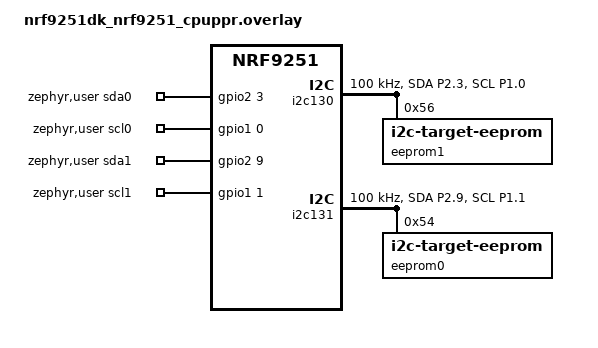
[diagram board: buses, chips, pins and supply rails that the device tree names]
/*
 * Copyright (c) 2026 Nordic Semiconductor ASA
 *
 * SPDX-License-Identifier: LicenseRef-Nordic-5-Clause
 */

/*
 * SDA = P2.03 - P2.09
 * SCL = P1.00 - P1.01
 */

/ {
	zephyr,user {
		sda0-gpios = <&gpio2 3 0>;
		scl0-gpios = <&gpio1 0 0>;
		sda1-gpios = <&gpio2 9 0>;
		scl1-gpios = <&gpio1 1 0>;
	};
};

&gpio1 {
	status = "okay";
};

&gpio2 {
	status = "okay";
};

&pinctrl {
	i2c130_default_alt: i2c130_default_alt {
		group1 {
			psels = <NRF_PSEL(TWIM_SDA, 2, 3)>,
				<NRF_PSEL(TWIM_SCL, 1, 0)>;
			bias-pull-up;
		};
	};

	i2c130_sleep_alt: i2c130_sleep_alt {
		group1 {
			psels = <NRF_PSEL(TWIM_SDA, 2, 3)>,
				<NRF_PSEL(TWIM_SCL, 1, 0)>;
			low-power-enable;
		};
	};

	i2c131_default_alt: i2c131_default_alt {
		group1 {
			/* Temporary workaround as it is currently not possible
			 * to configure pins for TWIS with pinctrl.
			 */
			psels = <NRF_PSEL(TWIM_SDA, 2, 9)>,
				<NRF_PSEL(TWIM_SCL, 1, 1)>;
			bias-pull-up;
		};
	};

	i2c131_sleep_alt: i2c131_sleep_alt {
		group1 {
			psels = <NRF_PSEL(TWIM_SDA, 2, 9)>,
				<NRF_PSEL(TWIM_SCL, 1, 1)>;
			low-power-enable;
		};
	};
};

&i2c130 {
	clock-frequency = <I2C_BITRATE_STANDARD>;
	pinctrl-0 = <&i2c130_default_alt>;
	pinctrl-1 = <&i2c130_sleep_alt>;
	pinctrl-names = "default", "sleep";
	zephyr,concat-buf-size = <256>;
	status = "okay";

	eeprom1: eeprom@56 {
		compatible = "zephyr,i2c-target-eeprom";
		reg = <0x56>;
		address-width = <8>;
		size = <256>;
	};
};

&i2c131 {
	compatible = "nordic,nrf-twis";
	clock-frequency = <I2C_BITRATE_STANDARD>;
	pinctrl-0 = <&i2c131_default_alt>;
	pinctrl-1 = <&i2c131_sleep_alt>;
	pinctrl-names = "default", "sleep";
	status = "okay";

	eeprom0: eeprom@54 {
		compatible = "zephyr,i2c-target-eeprom";
		reg = <0x54>;
		address-width = <8>;
		size = <256>;
	};
};

&gpiote130 {
	status = "okay";
};
